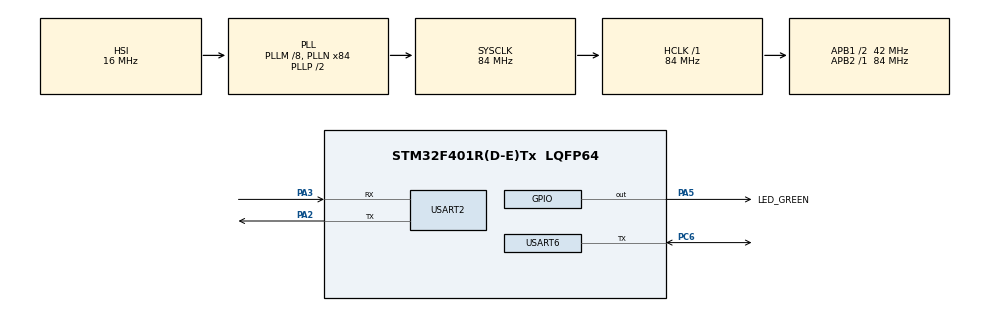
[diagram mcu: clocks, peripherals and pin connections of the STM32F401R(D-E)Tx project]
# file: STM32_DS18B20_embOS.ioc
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Dma.Request0=USART2_RX
Dma.Request1=USART2_TX
Dma.Request2=USART6_RX
Dma.Request3=USART6_TX
Dma.USART2_RX.0.Direction=DMA_PERIPH_TO_MEMORY
Dma.USART2_RX.0.FIFOMode=DMA_FIFOMODE_DISABLE
Dma.USART2_RX.0.Instance=DMA1_Stream5
Dma.USART2_RX.0.MemDataAlignment=DMA_MDATAALIGN_BYTE
Dma.USART2_RX.0.MemInc=DMA_MINC_ENABLE
Dma.USART2_RX.0.Mode=DMA_CIRCULAR
Dma.USART2_RX.0.PeriphDataAlignment=DMA_PDATAALIGN_BYTE
Dma.USART2_RX.0.PeriphInc=DMA_PINC_DISABLE
Dma.USART2_RX.0.Priority=DMA_PRIORITY_LOW
Dma.USART2_TX.1.Direction=DMA_MEMORY_TO_PERIPH
Dma.USART2_TX.1.FIFOMode=DMA_FIFOMODE_DISABLE
Dma.USART2_TX.1.Instance=DMA1_Stream6
Dma.USART2_TX.1.MemDataAlignment=DMA_MDATAALIGN_BYTE
Dma.USART2_TX.1.MemInc=DMA_MINC_ENABLE
Dma.USART2_TX.1.Mode=DMA_NORMAL
Dma.USART2_TX.1.PeriphDataAlignment=DMA_PDATAALIGN_BYTE
Dma.USART2_TX.1.PeriphInc=DMA_PINC_DISABLE
Dma.USART2_TX.1.Priority=DMA_PRIORITY_LOW
Dma.USART6_RX.2.Direction=DMA_PERIPH_TO_MEMORY
Dma.USART6_RX.2.FIFOMode=DMA_FIFOMODE_DISABLE
Dma.USART6_RX.2.Instance=DMA2_Stream1
Dma.USART6_RX.2.MemDataAlignment=DMA_MDATAALIGN_BYTE
Dma.USART6_RX.2.MemInc=DMA_MINC_ENABLE
Dma.USART6_RX.2.Mode=DMA_NORMAL
Dma.USART6_RX.2.PeriphDataAlignment=DMA_PDATAALIGN_BYTE
Dma.USART6_RX.2.PeriphInc=DMA_PINC_DISABLE
Dma.USART6_RX.2.Priority=DMA_PRIORITY_LOW
Dma.USART6_TX.3.Direction=DMA_MEMORY_TO_PERIPH
Dma.USART6_TX.3.FIFOMode=DMA_FIFOMODE_DISABLE
Dma.USART6_TX.3.Instance=DMA2_Stream6
Dma.USART6_TX.3.MemDataAlignment=DMA_MDATAALIGN_BYTE
Dma.USART6_TX.3.MemInc=DMA_MINC_ENABLE
Dma.USART6_TX.3.Mode=DMA_NORMAL
Dma.USART6_TX.3.PeriphDataAlignment=DMA_PDATAALIGN_BYTE
Dma.USART6_TX.3.PeriphInc=DMA_PINC_DISABLE
Dma.USART6_TX.3.Priority=DMA_PRIORITY_LOW
Mcu.Family=STM32F4
Mcu.Name=STM32F401R(D-E)Tx
Mcu.Package=LQFP64
NVIC.DMA1_Stream5_IRQn=true\:10\:0\:true\:false\:true\:false\:true
NVIC.DMA1_Stream6_IRQn=true\:10\:0\:true\:false\:true\:false\:true
NVIC.DMA2_Stream1_IRQn=true\:10\:0\:true\:false\:true\:false\:true
NVIC.DMA2_Stream6_IRQn=true\:10\:0\:true\:false\:true\:false\:true
NVIC.PriorityGroup=NVIC_PRIORITYGROUP_4
NVIC.TIM1_UP_TIM10_IRQn=true\:0\:0\:true\:false\:true\:false\:true
NVIC.TimeBase=TIM1_UP_TIM10_IRQn
NVIC.TimeBaseIP=TIM10
NVIC.USART2_IRQn=true\:10\:0\:true\:false\:true\:true\:true
PA13.Mode=Serial_Wire
PA13.Signal=SYS_JTMS-SWDIO
PA14.Mode=Serial_Wire
PA14.Signal=SYS_JTCK-SWCLK
PA2.Mode=Asynchronous
PA2.Signal=USART2_TX
PA3.Mode=Asynchronous
PA3.Signal=USART2_RX
PA5.GPIO_Label=LED_GREEN
PA5.Signal=GPIO_Output
PC6.Mode=Half_duplex(single_wire_mode)
PC6.Signal=USART6_TX
ProjectManager.HeapSize=0x200
ProjectManager.StackSize=0x400
ProjectManager.TargetToolchain=STM32CubeIDE
RCC.48MHZClocksFreq_Value=42000000
RCC.AHBFreq_Value=84000000
RCC.APB1CLKDivider=RCC_HCLK_DIV2
RCC.APB1Freq_Value=42000000
RCC.APB1TimFreq_Value=84000000
RCC.APB2Freq_Value=84000000
RCC.APB2TimFreq_Value=84000000
RCC.CortexFreq_Value=84000000
RCC.HCLKFreq_Value=84000000
RCC.HSE_VALUE=25000000
RCC.HSI_VALUE=16000000
RCC.LSE_VALUE=32768
RCC.PLLM=8
RCC.PLLN=84
RCC.SYSCLKFreq_VALUE=84000000
RCC.SYSCLKSource=RCC_SYSCLKSOURCE_PLLCLK
RCC.VCOOutputFreq_Value=168000000
USART2.VirtualMode=VM_ASYNC
USART6.VirtualMode=VM_ASYNC
VP_SYS_VS_tim10.Mode=TIM10
board=custom

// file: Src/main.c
/* USER CODE BEGIN Header */
/**
  ******************************************************************************
  * @file           : main.c
  * @brief          : Main program body
  ******************************************************************************
  * @attention
  *
  * <h2><center>&copy; Copyright (c) 2019 STMicroelectronics.
  * All rights reserved.</center></h2>
  *
  * This software component is licensed by ST under BSD 3-Clause license,
  * the "License"; You may not use this file except in compliance with the
  * License. You may obtain a copy of the License at:
  *                        opensource.org/licenses/BSD-3-Clause
  *
  ******************************************************************************
  */
/* USER CODE END Header */

#include "main.h"
#include "dma.h"
#include "usart.h"
#include "gpio.h"

/* USER CODE BEGIN Includes */
#include "RTOS.h"
/* USER CODE END Includes */

/* USER CODE BEGIN PD */
#define          BLINKY_TASK_STACK_SIZE 256u
#define          BLINKY_TASK_PRIORITY   3u
OS_STACKPTR int  Blinky_Task_Stack[BLINKY_TASK_STACK_SIZE];
OS_TASK          Blinky_Task_TCB;
static void      Blinky_Task();
/* USER CODE END PD */

void SystemClock_Config(void);
/* USER CODE BEGIN PFP */

extern void DS18B20_Thread_Add();
extern void Print_Thread_Add();

/* USER CODE END PFP */

/* USER CODE BEGIN 0 */
void Blinky_Task()
    {

    while(1)
	{
	HAL_GPIO_TogglePin(LED_GREEN_GPIO_Port, LED_GREEN_Pin);
	OS_Delay(100);
	}

    }
/* USER CODE END 0 */

int main(void)
{

  /* MCU Configuration--------------------------------------------------------*/

  /* Reset of all peripherals, Initializes the Flash interface and the Systick. */
  HAL_Init();

  /* Configure the system clock */
  SystemClock_Config();

  /* Initialize all configured peripherals */
  MX_GPIO_Init();
  MX_DMA_Init();
  MX_USART2_UART_Init();
  MX_USART6_UART_Init();
  /* USER CODE BEGIN 2 */

  __disable_irq();
  HAL_NVIC_SetPriority(SysTick_IRQn, 15, 0U);

  OS_Init();    // Initialize embOS
  OS_InitHW();  // Initialize required hardware
  OS_TASK_CREATE(&Blinky_Task_TCB, "Blinky_Task", 100, Blinky_Task, Blinky_Task_Stack);
  Print_Thread_Add();
  DS18B20_Thread_Add();
  OS_Start();   // Start embOS

  /* USER CODE END 2 */

  /* Infinite loop */
  while (1)
  {

  }
}

void SystemClock_Config(void)
{
  RCC_OscInitTypeDef RCC_OscInitStruct = {0};
  RCC_ClkInitTypeDef RCC_ClkInitStruct = {0};

  /** Configure the main internal regulator output voltage
  */
  __HAL_RCC_PWR_CLK_ENABLE();
  __HAL_PWR_VOLTAGESCALING_CONFIG(PWR_REGULATOR_VOLTAGE_SCALE2);
  /** Initializes the CPU, AHB and APB busses clocks
  */
  RCC_OscInitStruct.OscillatorType = RCC_OSCILLATORTYPE_HSI;
  RCC_OscInitStruct.HSIState = RCC_HSI_ON;
  RCC_OscInitStruct.HSICalibrationValue = RCC_HSICALIBRATION_DEFAULT;
  RCC_OscInitStruct.PLL.PLLState = RCC_PLL_ON;
  RCC_OscInitStruct.PLL.PLLSource = RCC_PLLSOURCE_HSI;
  RCC_OscInitStruct.PLL.PLLM = 8;
  RCC_OscInitStruct.PLL.PLLN = 84;
  RCC_OscInitStruct.PLL.PLLP = RCC_PLLP_DIV2;
  RCC_OscInitStruct.PLL.PLLQ = 4;
  if (HAL_RCC_OscConfig(&RCC_OscInitStruct) != HAL_OK)
  {
    Error_Handler();
  }
  /** Initializes the CPU, AHB and APB busses clocks
  */
  RCC_ClkInitStruct.ClockType = RCC_CLOCKTYPE_HCLK|RCC_CLOCKTYPE_SYSCLK
                              |RCC_CLOCKTYPE_PCLK1|RCC_CLOCKTYPE_PCLK2;
  RCC_ClkInitStruct.SYSCLKSource = RCC_SYSCLKSOURCE_PLLCLK;
  RCC_ClkInitStruct.AHBCLKDivider = RCC_SYSCLK_DIV1;
  RCC_ClkInitStruct.APB1CLKDivider = RCC_HCLK_DIV2;
  RCC_ClkInitStruct.APB2CLKDivider = RCC_HCLK_DIV1;

  if (HAL_RCC_ClockConfig(&RCC_ClkInitStruct, FLASH_LATENCY_2) != HAL_OK)
  {
    Error_Handler();
  }
}

void HAL_TIM_PeriodElapsedCallback(TIM_HandleTypeDef *htim)
{
  if (htim->Instance == TIM10) {
    HAL_IncTick();
  }
}

void Error_Handler(void)
{
}

/************************ (C) COPYRIGHT STMicroelectronics *****END OF FILE****/
